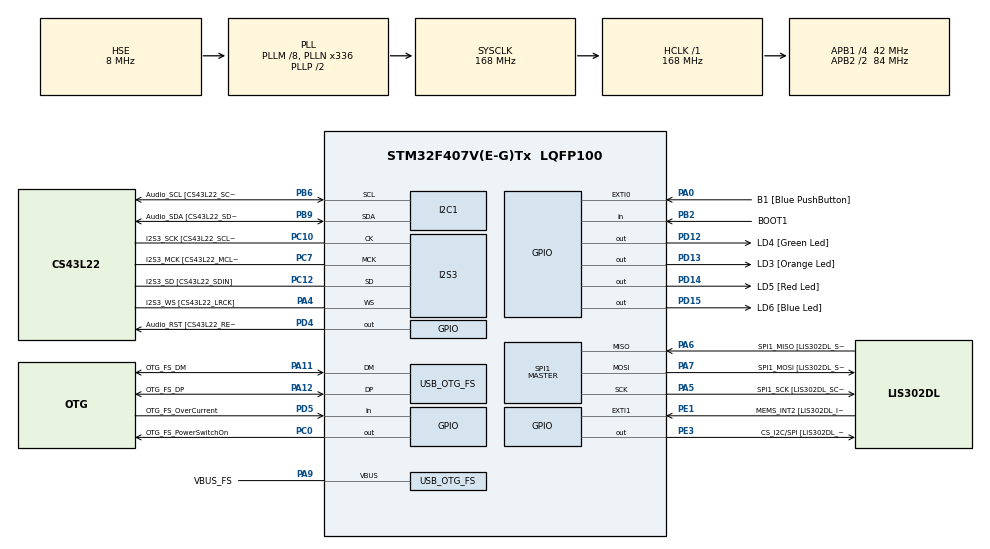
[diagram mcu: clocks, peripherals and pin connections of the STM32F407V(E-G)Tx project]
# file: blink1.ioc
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I2S3.AudioFreq-Half_Duplex_Master=I2S_AUDIOFREQ_96K
I2S3.ErrorAudioFreq=-2.34 %
I2S3.ErrorAudioFreq-Half_Duplex_Master=0.8 %
I2S3.FullDuplexMode=I2S_FULLDUPLEXMODE_DISABLE
I2S3.Instance=SPI$Index
I2S3.RealAudioFreq=93.75 KHz
I2S3.RealAudioFreq-Half_Duplex_Master=96.774 KHz
I2S3.VirtualMode=I2S_MODE_MASTER
Mcu.Family=STM32F4
Mcu.Name=STM32F407V(E-G)Tx
Mcu.Package=LQFP100
NVIC.OTG_FS_IRQn=true\:0\:0\:false\:false\:true\:true\:true\:true
NVIC.PriorityGroup=NVIC_PRIORITYGROUP_0
PA0-WKUP.GPIO_Label=B1 [Blue PushButton]
PA0-WKUP.GPIO_ModeDefaultEXTI=GPIO_MODE_EVT_RISING
PA0-WKUP.GPIO_PuPd=GPIO_NOPULL
PA0-WKUP.Signal=GPXTI0
PA10.GPIO_Label=OTG_FS_ID
PA10.GPIO_Mode=GPIO_MODE_AF_PP
PA10.GPIO_PuPd=GPIO_NOPULL
PA10.GPIO_Speed=GPIO_SPEED_FREQ_LOW
PA10.Signal=USB_OTG_FS_ID
PA11.GPIO_Label=OTG_FS_DM
PA11.GPIO_Mode=GPIO_MODE_AF_PP
PA11.GPIO_PuPd=GPIO_NOPULL
PA11.GPIO_Speed=GPIO_SPEED_FREQ_LOW
PA11.Mode=Host_Only
PA11.Signal=USB_OTG_FS_DM
PA12.GPIO_Label=OTG_FS_DP
PA12.GPIO_Mode=GPIO_MODE_AF_PP
PA12.GPIO_PuPd=GPIO_NOPULL
PA12.GPIO_Speed=GPIO_SPEED_FREQ_LOW
PA12.Mode=Host_Only
PA12.Signal=USB_OTG_FS_DP
PA13.GPIO_Label=SWDIO
PA13.Mode=Serial_Wire
PA13.Signal=SYS_JTMS-SWDIO
PA14.GPIO_Label=SWCLK
PA14.Mode=Serial_Wire
PA14.Signal=SYS_JTCK-SWCLK
PA4.GPIO_Label=I2S3_WS [CS43L22_LRCK]
PA4.GPIO_Mode=GPIO_MODE_AF_PP
PA4.GPIO_PuPd=GPIO_NOPULL
PA4.GPIO_Speed=GPIO_SPEED_FREQ_LOW
PA4.Mode=Half_Duplex_Master
PA4.Signal=I2S3_WS
PA5.GPIO_Label=SPI1_SCK [LIS302DL_SCL/SPC]
PA5.GPIO_Mode=GPIO_MODE_AF_PP
PA5.GPIO_PuPd=GPIO_NOPULL
PA5.GPIO_Speed=GPIO_SPEED_FREQ_LOW
PA5.Mode=Full_Duplex_Master
PA5.Signal=SPI1_SCK
PA6.GPIO_Label=SPI1_MISO [LIS302DL_SDO]
PA6.GPIO_Mode=GPIO_MODE_AF_PP
PA6.GPIO_PuPd=GPIO_NOPULL
PA6.GPIO_Speed=GPIO_SPEED_FREQ_LOW
PA6.Mode=Full_Duplex_Master
PA6.Signal=SPI1_MISO
PA7.GPIO_Label=SPI1_MOSI [LIS302DL_SDA/SDI/SDO]
PA7.GPIO_Mode=GPIO_MODE_AF_PP
PA7.GPIO_PuPd=GPIO_NOPULL
PA7.GPIO_Speed=GPIO_SPEED_FREQ_LOW
PA7.Mode=Full_Duplex_Master
PA7.Signal=SPI1_MOSI
PA9.GPIO_Label=VBUS_FS
PA9.GPIO_Mode=GPIO_MODE_INPUT
PA9.GPIO_PuPd=GPIO_NOPULL
PA9.Mode=Activate_VBUS
PA9.Signal=USB_OTG_FS_VBUS
PB10.GPIO_Label=CLK_IN [MP45DT02_CLK]
PB10.GPIO_Mode=GPIO_MODE_AF_PP
PB10.GPIO_PuPd=GPIO_NOPULL
PB10.GPIO_Speed=GPIO_SPEED_FREQ_LOW
PB10.Signal=I2S2_CK
PB2.GPIO_Label=BOOT1
PB2.GPIO_Mode=GPIO_MODE_INPUT
PB2.GPIO_PuPd=GPIO_NOPULL
PB2.Signal=GPIO_Input
PB3.GPIO_Label=SWO
PB3.Signal=SYS_JTDO-SWO
PB6.GPIO_Label=Audio_SCL [CS43L22_SCL]
PB6.GPIO_Mode=GPIO_MODE_AF_OD
PB6.GPIO_Pu=GPIO_PULLUP
PB6.GPIO_PuPd=GPIO_NOPULL
PB6.GPIO_Speed=GPIO_SPEED_FREQ_LOW
PB6.Mode=I2C
PB6.Signal=I2C1_SCL
PB9.GPIO_Label=Audio_SDA [CS43L22_SDA]
PB9.GPIO_Mode=GPIO_MODE_AF_OD
PB9.GPIO_Pu=GPIO_PULLUP
PB9.GPIO_PuPd=GPIO_NOPULL
PB9.GPIO_Speed=GPIO_SPEED_FREQ_LOW
PB9.Mode=I2C
PB9.Signal=I2C1_SDA
PC0.GPIO_Label=OTG_FS_PowerSwitchOn
PC0.GPIO_PuPd=GPIO_NOPULL
PC0.GPIO_Speed=GPIO_SPEED_FREQ_LOW
PC0.PinState=GPIO_PIN_SET
PC0.Signal=GPIO_Output
PC10.GPIO_Label=I2S3_SCK [CS43L22_SCLK]
PC10.GPIO_Mode=GPIO_MODE_AF_PP
PC10.GPIO_PuPd=GPIO_NOPULL
PC10.GPIO_Speed=GPIO_SPEED_FREQ_LOW
PC10.Mode=Half_Duplex_Master
PC10.Signal=I2S3_CK
PC12.GPIO_Label=I2S3_SD [CS43L22_SDIN]
PC12.GPIO_Mode=GPIO_MODE_AF_PP
PC12.GPIO_PuPd=GPIO_NOPULL
PC12.GPIO_Speed=GPIO_SPEED_FREQ_LOW
PC12.Mode=Half_Duplex_Master
PC12.Signal=I2S3_SD
PC14-OSC32_IN.GPIO_Label=PC14-OSC32_IN
PC14-OSC32_IN.Mode=LSE-External-Oscillator
PC14-OSC32_IN.Signal=RCC_OSC32_IN
PC15-OSC32_OUT.GPIO_Label=PC15-OSC32_OUT
PC15-OSC32_OUT.Mode=LSE-External-Oscillator
PC15-OSC32_OUT.Signal=RCC_OSC32_OUT
PC3.GPIO_Label=PDM_OUT [MP45DT02_DOUT]
PC3.GPIO_Mode=GPIO_MODE_AF_PP
PC3.GPIO_PuPd=GPIO_NOPULL
PC3.GPIO_Speed=GPIO_SPEED_FREQ_LOW
PC3.Signal=I2S2_SD
PC7.GPIO_Label=I2S3_MCK [CS43L22_MCLK]
PC7.GPIO_Mode=GPIO_MODE_AF_PP
PC7.GPIO_PuPd=GPIO_NOPULL
PC7.GPIO_Speed=GPIO_SPEED_FREQ_LOW
PC7.Mode=Master_Clock_Activated
PC7.Signal=I2S3_MCK
PD12.GPIO_Label=LD4 [Green Led]
PD12.GPIO_PuPd=GPIO_NOPULL
PD12.GPIO_Speed=GPIO_SPEED_FREQ_LOW
PD12.Signal=GPIO_Output
PD13.GPIO_Label=LD3 [Orange Led]
PD13.GPIO_PuPd=GPIO_NOPULL
PD13.GPIO_Speed=GPIO_SPEED_FREQ_LOW
PD13.Signal=GPIO_Output
PD14.GPIO_Label=LD5 [Red Led]
PD14.GPIO_PuPd=GPIO_NOPULL
PD14.GPIO_Speed=GPIO_SPEED_FREQ_LOW
PD14.Signal=GPIO_Output
PD15.GPIO_Label=LD6 [Blue Led]
PD15.GPIO_PuPd=GPIO_NOPULL
PD15.GPIO_Speed=GPIO_SPEED_FREQ_LOW
PD15.Signal=GPIO_Output
PD4.GPIO_Label=Audio_RST [CS43L22_RESET]
PD4.GPIO_PuPd=GPIO_NOPULL
PD4.GPIO_Speed=GPIO_SPEED_FREQ_LOW
PD4.Signal=GPIO_Output
PD5.GPIO_Label=OTG_FS_OverCurrent
PD5.GPIO_Mode=GPIO_MODE_INPUT
PD5.GPIO_PuPd=GPIO_NOPULL
PD5.Signal=GPIO_Input
PE1.GPIO_Label=MEMS_INT2 [LIS302DL_INT2]
PE1.GPIO_ModeDefaultEXTI=GPIO_MODE_EVT_RISING
PE1.GPIO_PuPd=GPIO_NOPULL
PE1.Signal=GPXTI1
PE3.GPIO_Label=CS_I2C/SPI [LIS302DL_CS_I2C/SPI]
PE3.GPIO_PuPd=GPIO_NOPULL
PE3.GPIO_Speed=GPIO_SPEED_FREQ_LOW
PE3.Signal=GPIO_Output
PH0-OSC_IN.GPIO_Label=PH0-OSC_IN
PH0-OSC_IN.Mode=HSE-External-Oscillator
PH0-OSC_IN.Signal=RCC_OSC_IN
PH1-OSC_OUT.GPIO_Label=PH1-OSC_OUT
PH1-OSC_OUT.Mode=HSE-External-Oscillator
PH1-OSC_OUT.Signal=RCC_OSC_OUT
ProjectManager.HeapSize=0x200
ProjectManager.StackSize=0x400
ProjectManager.TargetToolchain=STM32CubeIDE
RCC.48MHZClocksFreq_Value=48000000
RCC.AHBFreq_Value=168000000
RCC.APB1CLKDivider=RCC_HCLK_DIV4
RCC.APB1Freq_Value=42000000
RCC.APB1TimFreq_Value=84000000
RCC.APB2CLKDivider=RCC_HCLK_DIV2
RCC.APB2Freq_Value=84000000
RCC.APB2TimFreq_Value=168000000
RCC.CortexFreq_Value=168000000
RCC.HCLKFreq_Value=168000000
RCC.HSE_VALUE=8000000
RCC.HSI_VALUE=16000000
RCC.PLLM=8
RCC.PLLN=336
RCC.PLLQ=7
RCC.SYSCLKFreq_VALUE=168000000
RCC.SYSCLKSource=RCC_SYSCLKSOURCE_PLLCLK
RCC.VCOOutputFreq_Value=336000000
SPI1.BaudRatePrescaler-Full_Duplex_Master=SPI_BAUDRATEPRESCALER_2
SPI1.CalculateBaudRate-Full_Duplex_Master=42.0 MBits/s
SPI1.Direction=SPI_DIRECTION_2LINES
SPI1.Mode=SPI_MODE_MASTER
SPI1.Mode-Full_Duplex_Master=SPI_MODE_MASTER
SPI1.VirtualType=VM_MASTER
USB_HOST.BSP.number=1
USB_HOST.USBH_HandleTypeDef-CDC_FS=hUsbHostFS
USB_HOST.VirtualModeFS=Cdc
USB_HOST0.BSP.STBoard=false
USB_HOST0.BSP.api=Unknown
USB_HOST0.BSP.i2caddr=0
USB_HOST0.BSP.i2creg=0
USB_HOST0.BSP.instance=PC0
USB_HOST0.BSP.ip=GPIO
USB_HOST0.BSP.mode=Output
USB_HOST0.BSP.name=Drive_VBUS_FS
USB_HOST0.BSP.solution=PC0
USB_OTG_FS.VirtualMode=Host_Only
USB_OTG_FS.phy_itface=HCD_PHY_EMBEDDED
VP_USB_HOST_VS_USB_HOST_CDC_FS.Mode=CDC_FS
board=STM32F407G-DISC1

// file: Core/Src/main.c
/* USER CODE BEGIN Header */
/**
  ******************************************************************************
  * @file           : main.c
  * @brief          : Main program body
  ******************************************************************************
  * @attention
  *
  * Copyright (c) 2022 STMicroelectronics.
  * All rights reserved.
  *
  * This software is licensed under terms that can be found in the LICENSE file
  * in the root directory of this software component.
  * If no LICENSE file comes with this software, it is provided AS-IS.
  *
  ******************************************************************************
  */
/* USER CODE END Header */
#include "main.h"
#include "usb_host.h"

 I2C_HandleTypeDef hi2c1;

I2S_HandleTypeDef hi2s3;

SPI_HandleTypeDef hspi1;

void SystemClock_Config(void);
static void MX_GPIO_Init(void);
static void MX_I2C1_Init(void);
static void MX_I2S3_Init(void);
static void MX_SPI1_Init(void);
void MX_USB_HOST_Process(void);

int main(void)
{

  /* MCU Configuration--------------------------------------------------------*/

  /* Reset of all peripherals, Initializes the Flash interface and the Systick. */
  HAL_Init();

  /* Configure the system clock */
  SystemClock_Config();

  /* Initialize all configured peripherals */
  MX_GPIO_Init();
  MX_I2C1_Init();
  MX_I2S3_Init();
  MX_SPI1_Init();
  MX_USB_HOST_Init();

  /* Infinite loop */
  /* USER CODE BEGIN WHILE */

  uint32_t now = 0, last_change = 0, led_no = 0;

  while (1)
  {

	  now = HAL_GetTick();

	  if (now - last_change >= 200) {

		  switch (led_no) {
		  case 0:
			  HAL_GPIO_TogglePin(LD3_GPIO_Port, LD3_Pin);
			  break;
		  case 1:
			  HAL_GPIO_TogglePin(LD4_GPIO_Port, LD4_Pin);
			  break;
		  case 2:
			  HAL_GPIO_TogglePin(LD5_GPIO_Port, LD5_Pin);
			  break;
		  case 3:
			  HAL_GPIO_TogglePin(LD6_GPIO_Port, LD6_Pin);
			  break;
		  }

		  ++led_no;
		  if (led_no > 3) led_no = 0;

		  last_change = now;
	  }

    /* USER CODE END WHILE */
    MX_USB_HOST_Process();

  }
}

void SystemClock_Config(void)
{
  RCC_OscInitTypeDef RCC_OscInitStruct = {0};
  RCC_ClkInitTypeDef RCC_ClkInitStruct = {0};

  /** Configure the main internal regulator output voltage
  */
  __HAL_RCC_PWR_CLK_ENABLE();
  __HAL_PWR_VOLTAGESCALING_CONFIG(PWR_REGULATOR_VOLTAGE_SCALE1);

  /** Initializes the RCC Oscillators according to the specified parameters
  * in the RCC_OscInitTypeDef structure.
  */
  RCC_OscInitStruct.OscillatorType = RCC_OSCILLATORTYPE_HSE;
  RCC_OscInitStruct.HSEState = RCC_HSE_ON;
  RCC_OscInitStruct.PLL.PLLState = RCC_PLL_ON;
  RCC_OscInitStruct.PLL.PLLSource = RCC_PLLSOURCE_HSE;
  RCC_OscInitStruct.PLL.PLLM = 8;
  RCC_OscInitStruct.PLL.PLLN = 336;
  RCC_OscInitStruct.PLL.PLLP = RCC_PLLP_DIV2;
  RCC_OscInitStruct.PLL.PLLQ = 7;
  if (HAL_RCC_OscConfig(&RCC_OscInitStruct) != HAL_OK)
  {
    Error_Handler();
  }

  /** Initializes the CPU, AHB and APB buses clocks
  */
  RCC_ClkInitStruct.ClockType = RCC_CLOCKTYPE_HCLK|RCC_CLOCKTYPE_SYSCLK
                              |RCC_CLOCKTYPE_PCLK1|RCC_CLOCKTYPE_PCLK2;
  RCC_ClkInitStruct.SYSCLKSource = RCC_SYSCLKSOURCE_PLLCLK;
  RCC_ClkInitStruct.AHBCLKDivider = RCC_SYSCLK_DIV1;
  RCC_ClkInitStruct.APB1CLKDivider = RCC_HCLK_DIV4;
  RCC_ClkInitStruct.APB2CLKDivider = RCC_HCLK_DIV2;

  if (HAL_RCC_ClockConfig(&RCC_ClkInitStruct, FLASH_LATENCY_5) != HAL_OK)
  {
    Error_Handler();
  }
}

static void MX_I2C1_Init(void)
{

  hi2c1.Instance = I2C1;
  hi2c1.Init.ClockSpeed = 100000;
  hi2c1.Init.DutyCycle = I2C_DUTYCYCLE_2;
  hi2c1.Init.OwnAddress1 = 0;
  hi2c1.Init.AddressingMode = I2C_ADDRESSINGMODE_7BIT;
  hi2c1.Init.DualAddressMode = I2C_DUALADDRESS_DISABLE;
  hi2c1.Init.OwnAddress2 = 0;
  hi2c1.Init.GeneralCallMode = I2C_GENERALCALL_DISABLE;
  hi2c1.Init.NoStretchMode = I2C_NOSTRETCH_DISABLE;
  if (HAL_I2C_Init(&hi2c1) != HAL_OK)
  {
    Error_Handler();
  }

}

static void MX_I2S3_Init(void)
{

  hi2s3.Instance = SPI3;
  hi2s3.Init.Mode = I2S_MODE_MASTER_TX;
  hi2s3.Init.Standard = I2S_STANDARD_PHILIPS;
  hi2s3.Init.DataFormat = I2S_DATAFORMAT_16B;
  hi2s3.Init.MCLKOutput = I2S_MCLKOUTPUT_ENABLE;
  hi2s3.Init.AudioFreq = I2S_AUDIOFREQ_96K;
  hi2s3.Init.CPOL = I2S_CPOL_LOW;
  hi2s3.Init.ClockSource = I2S_CLOCK_PLL;
  hi2s3.Init.FullDuplexMode = I2S_FULLDUPLEXMODE_DISABLE;
  if (HAL_I2S_Init(&hi2s3) != HAL_OK)
  {
    Error_Handler();
  }

}

static void MX_SPI1_Init(void)
{

  /* SPI1 parameter configuration*/
  hspi1.Instance = SPI1;
  hspi1.Init.Mode = SPI_MODE_MASTER;
  hspi1.Init.Direction = SPI_DIRECTION_2LINES;
  hspi1.Init.DataSize = SPI_DATASIZE_8BIT;
  hspi1.Init.CLKPolarity = SPI_POLARITY_LOW;
  hspi1.Init.CLKPhase = SPI_PHASE_1EDGE;
  hspi1.Init.NSS = SPI_NSS_SOFT;
  hspi1.Init.BaudRatePrescaler = SPI_BAUDRATEPRESCALER_2;
  hspi1.Init.FirstBit = SPI_FIRSTBIT_MSB;
  hspi1.Init.TIMode = SPI_TIMODE_DISABLE;
  hspi1.Init.CRCCalculation = SPI_CRCCALCULATION_DISABLE;
  hspi1.Init.CRCPolynomial = 10;
  if (HAL_SPI_Init(&hspi1) != HAL_OK)
  {
    Error_Handler();
  }

}

static void MX_GPIO_Init(void)
{
  GPIO_InitTypeDef GPIO_InitStruct = {0};

  /* GPIO Ports Clock Enable */
  __HAL_RCC_GPIOE_CLK_ENABLE();
  __HAL_RCC_GPIOC_CLK_ENABLE();
  __HAL_RCC_GPIOH_CLK_ENABLE();
  __HAL_RCC_GPIOA_CLK_ENABLE();
  __HAL_RCC_GPIOB_CLK_ENABLE();
  __HAL_RCC_GPIOD_CLK_ENABLE();

  /*Configure GPIO pin Output Level */
  HAL_GPIO_WritePin(CS_I2C_SPI_GPIO_Port, CS_I2C_SPI_Pin, GPIO_PIN_RESET);

  /*Configure GPIO pin Output Level */
  HAL_GPIO_WritePin(OTG_FS_PowerSwitchOn_GPIO_Port, OTG_FS_PowerSwitchOn_Pin, GPIO_PIN_SET);

  /*Configure GPIO pin Output Level */
  HAL_GPIO_WritePin(GPIOD, LD4_Pin|LD3_Pin|LD5_Pin|LD6_Pin
                          |Audio_RST_Pin, GPIO_PIN_RESET);

  /*Configure GPIO pin : CS_I2C_SPI_Pin */
  GPIO_InitStruct.Pin = CS_I2C_SPI_Pin;
  GPIO_InitStruct.Mode = GPIO_MODE_OUTPUT_PP;
  GPIO_InitStruct.Pull = GPIO_NOPULL;
  GPIO_InitStruct.Speed = GPIO_SPEED_FREQ_LOW;
  HAL_GPIO_Init(CS_I2C_SPI_GPIO_Port, &GPIO_InitStruct);

  /*Configure GPIO pin : OTG_FS_PowerSwitchOn_Pin */
  GPIO_InitStruct.Pin = OTG_FS_PowerSwitchOn_Pin;
  GPIO_InitStruct.Mode = GPIO_MODE_OUTPUT_PP;
  GPIO_InitStruct.Pull = GPIO_NOPULL;
  GPIO_InitStruct.Speed = GPIO_SPEED_FREQ_LOW;
  HAL_GPIO_Init(OTG_FS_PowerSwitchOn_GPIO_Port, &GPIO_InitStruct);

  /*Configure GPIO pin : PDM_OUT_Pin */
  GPIO_InitStruct.Pin = PDM_OUT_Pin;
  GPIO_InitStruct.Mode = GPIO_MODE_AF_PP;
  GPIO_InitStruct.Pull = GPIO_NOPULL;
  GPIO_InitStruct.Speed = GPIO_SPEED_FREQ_LOW;
  GPIO_InitStruct.Alternate = GPIO_AF5_SPI2;
  HAL_GPIO_Init(PDM_OUT_GPIO_Port, &GPIO_InitStruct);

  /*Configure GPIO pin : B1_Pin */
  GPIO_InitStruct.Pin = B1_Pin;
  GPIO_InitStruct.Mode = GPIO_MODE_EVT_RISING;
  GPIO_InitStruct.Pull = GPIO_NOPULL;
  HAL_GPIO_Init(B1_GPIO_Port, &GPIO_InitStruct);

  /*Configure GPIO pin : BOOT1_Pin */
  GPIO_InitStruct.Pin = BOOT1_Pin;
  GPIO_InitStruct.Mode = GPIO_MODE_INPUT;
  GPIO_InitStruct.Pull = GPIO_NOPULL;
  HAL_GPIO_Init(BOOT1_GPIO_Port, &GPIO_InitStruct);

  /*Configure GPIO pin : CLK_IN_Pin */
  GPIO_InitStruct.Pin = CLK_IN_Pin;
  GPIO_InitStruct.Mode = GPIO_MODE_AF_PP;
  GPIO_InitStruct.Pull = GPIO_NOPULL;
  GPIO_InitStruct.Speed = GPIO_SPEED_FREQ_LOW;
  GPIO_InitStruct.Alternate = GPIO_AF5_SPI2;
  HAL_GPIO_Init(CLK_IN_GPIO_Port, &GPIO_InitStruct);

  /*Configure GPIO pins : LD4_Pin LD3_Pin LD5_Pin LD6_Pin
                           Audio_RST_Pin */
  GPIO_InitStruct.Pin = LD4_Pin|LD3_Pin|LD5_Pin|LD6_Pin
                          |Audio_RST_Pin;
  GPIO_InitStruct.Mode = GPIO_MODE_OUTPUT_PP;
  GPIO_InitStruct.Pull = GPIO_NOPULL;
  GPIO_InitStruct.Speed = GPIO_SPEED_FREQ_LOW;
  HAL_GPIO_Init(GPIOD, &GPIO_InitStruct);

  /*Configure GPIO pin : OTG_FS_OverCurrent_Pin */
  GPIO_InitStruct.Pin = OTG_FS_OverCurrent_Pin;
  GPIO_InitStruct.Mode = GPIO_MODE_INPUT;
  GPIO_InitStruct.Pull = GPIO_NOPULL;
  HAL_GPIO_Init(OTG_FS_OverCurrent_GPIO_Port, &GPIO_InitStruct);

  /*Configure GPIO pin : MEMS_INT2_Pin */
  GPIO_InitStruct.Pin = MEMS_INT2_Pin;
  GPIO_InitStruct.Mode = GPIO_MODE_EVT_RISING;
  GPIO_InitStruct.Pull = GPIO_NOPULL;
  HAL_GPIO_Init(MEMS_INT2_GPIO_Port, &GPIO_InitStruct);

}

void Error_Handler(void)
{
  __disable_irq();
  while (1)
  {
  }
}
